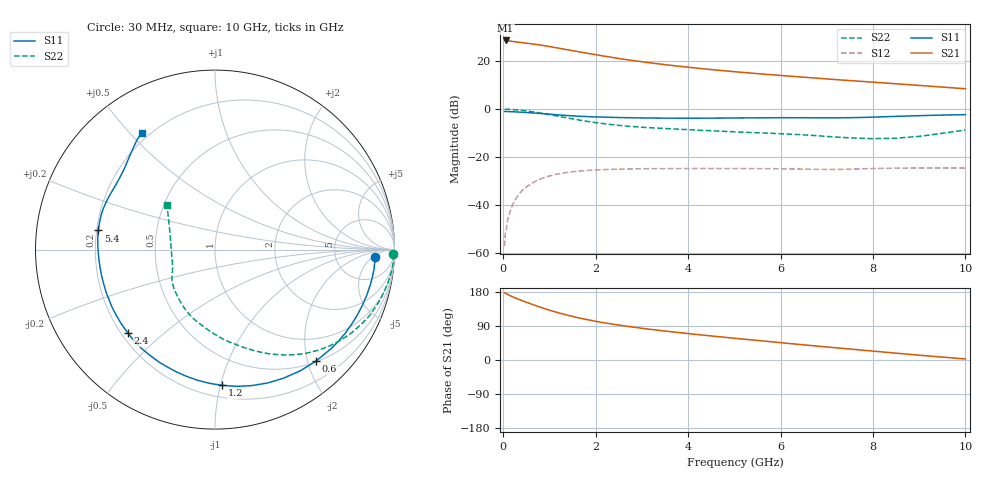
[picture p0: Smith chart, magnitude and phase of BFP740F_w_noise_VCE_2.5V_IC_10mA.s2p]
! Infineon Technologies  Discrete & RF Semiconductors
! BFP740F
! VCE =  2.5 V,  IC =  10 mA
! Common Emitter S-Parameters:  Oct 2012
# GHz  S  MA  R  50
!  f  S11  S21  S12  S22
! GHz  MAG  ANG  MAG  ANG  MAG  ANG  MAG  ANG
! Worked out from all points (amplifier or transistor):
!   99 points, 30 MHz to 10 GHz, reference 50 ohm
!   highest |S21| = 28.6 dB at 50 MHz (marker M1)
!   |S21| within 3 dB of that: start of sweep to 1.134 GHz
!   unconditionally stable (mu >= 1): 6.661 GHz to end of sweep
!   at 350 MHz: K = 0.09, MSG = 31.5 dB, |S12| = -35.2 dB
!   at 3.5 GHz: K = 0.49, MSG = 21.7 dB, |S12| = -24.8 dB
!   at 10 GHz: K = 1.28, MAG = 13.3 dB, |S12| = -24.5 dB
!   lowest NFmin = 0.44 dB at 450 MHz
!   S11 on the Smith chart (normalised r, x): 30 MHz: 16, -6; 600 MHz: 0.52, -2.16; 1.2 GHz: 0.29, -1.01; 2.4 GHz: 0.23, -0.38; 5.4 GHz: 0.21, +0.08; 10 GHz: 0.17, +0.54
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0.03  0.8941 -2.5  26.75 177.1  0.0014 105.1  0.9946 -1.5
0.05  0.8936 -4.2  26.94 176.0  0.0029 76.5  0.9961 -2.8
0.09  0.8918 -7.6  26.69 173.3  0.0047 88.7  0.9947 -5.0
0.15  0.8874 -12.7  26.16 169.7  0.0074 85.3  0.9869 -8.4
0.25  0.8779 -20.8  25.39 164.3  0.0125 79.3  0.9719 -13.7
0.4  0.8625 -32.6  24.33 157.0  0.0196 72.3  0.9425 -21.4
0.6  0.8385 -47.7  23.01 147.9  0.0278 63.8  0.8925 -31.1
0.8  0.8115 -62.1  21.68 139.3  0.035 56.4  0.8338 -40.1
1  0.7846 -75.0  20.12 131.5  0.0406 49.7  0.7704 -48.5
1.2  0.7576 -86.9  18.61 124.3  0.0449 43.8  0.7084 -56.0
1.4  0.7344 -97.7  17.18 117.9  0.0483 38.9  0.652 -62.8
1.7  0.7063 -111.7  15.27 109.5  0.0518 32.9  0.5798 -71.9
2.1  0.6854 -127.2  13.12 99.9  0.0547 26.1  0.509 -83.4
2.4  0.6722 -136.3  11.76 94.0  0.056 22.5  0.4708 -90.4
2.8  0.6606 -146.6  10.32 87.0  0.0569 18.6  0.4339 -98.4
3.4  0.6509 -159.1  8.675 77.9  0.0577 14.3  0.3997 -108.3
4.2  0.6478 -172.5  7.127 67.2  0.0581 10.3  0.3659 -118.2
5.1  0.6563 174.6  5.913 56.2  0.0579 7.2  0.3338 -128.8
5.4  0.6589 170.7  5.59 52.8  0.0578 6.3  0.3251 -132.3
6.7  0.6604 153.8  4.474 37.8  0.0558 4.0  0.2831 -147.9
8.5  0.7072 132.1  3.375 18.0  0.059 4.5  0.2478 173.2
10  0.7686 122.0  2.659 2.8  0.0594 1.8  0.3668 136.9
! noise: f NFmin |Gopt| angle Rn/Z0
0.45  0.44  0.22  5  0.24
0.9  0.49  0.22  12  0.16
1.5  0.57  0.22  23  0.1
1.9  0.61  0.21  31  0.07
2.4  0.66  0.21  42  0.06
3.5  0.78  0.18  66  0.09
5.5  0.98  0.1  127  0.1
10  1.39  0.38  -118  0.09
